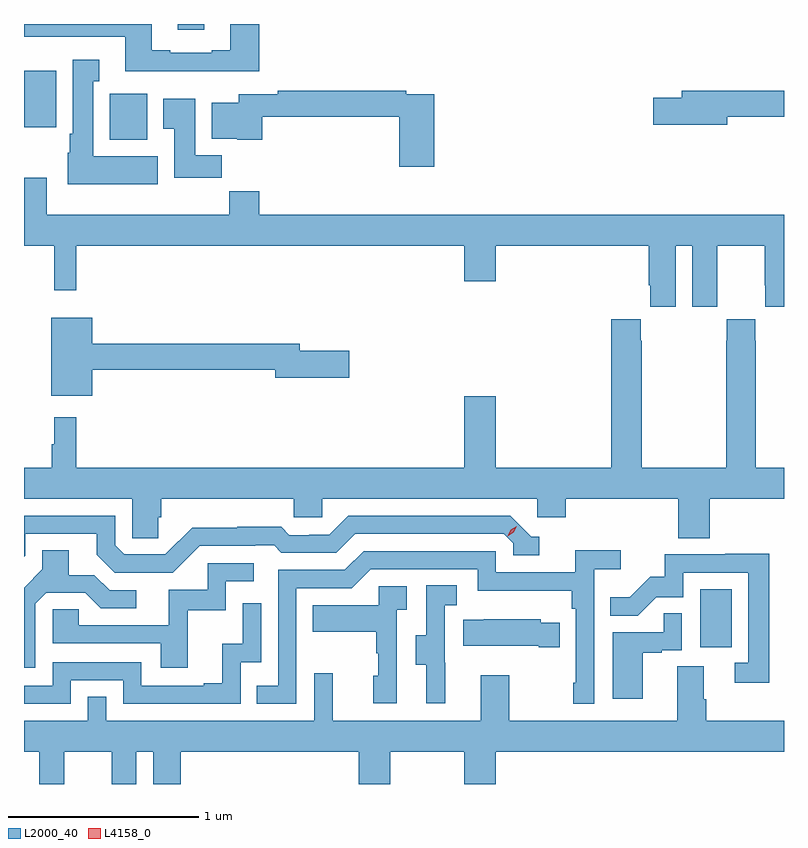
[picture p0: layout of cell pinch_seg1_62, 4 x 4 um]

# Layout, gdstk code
import gdstk
lib = gdstk.Library(unit=1e-6, precision=1e-09)
def R(c, l, rs):  # rectangles x0, y0, x1, y1
    for r in rs: c.add(gdstk.rectangle(r[:2], r[2:], *l))
def P(c, l, *ps):  # polygons
    for p in ps: c.add(gdstk.Polygon(p, *l))
L2000_40 = (2000, 40)
L4158_0 = (4158, 0)

pinch_seg1_62 = lib.new_cell('pinch_seg1_62')
R(pinch_seg1_62, L2000_40, [(1029.386,566.934,1029.55,567.241), (1026.278,569.606,1026.475,569.848), (1025.826,569.672,1025.995,569.968), (1026.635,570.186,1026.775,570.215)])
P(pinch_seg1_62, L2000_40, [(1027.064,570.215),(1026.911,570.215),(1026.911,570.076),(1026.815,570.076),(1026.815,570.063),(1026.595,570.063),(1026.595,570.076),(1026.499,570.076),(1026.499,570.215),(1025.826,570.215),(1025.826,570.147),(1026.359,570.147),(1026.359,569.966),(1027.064,569.966)],
  [(1026.529,569.518),(1026.19,569.518),(1026.19,569.915),(1026.223,569.915),(1026.223,570.028),(1026.083,570.028),(1026.083,569.638),(1026.068,569.638),(1026.068,569.538),(1026.056,569.538),(1026.056,569.372),(1026.529,569.372)],
  [(1027.985,569.844),(1027.838,569.844),(1027.838,569.864),(1027.162,569.864),(1027.162,569.844),(1026.956,569.844),(1026.956,569.8),(1026.815,569.8),(1026.815,569.612),(1026.948,569.612),(1026.948,569.606),(1027.079,569.606),(1027.079,569.728),(1027.802,569.728),(1027.802,569.463),(1027.985,569.463)],
  [(1029.526,569.728),(1029.826,569.728),(1029.826,569.864),(1029.287,569.864),(1029.287,569.828),(1029.138,569.828),(1029.138,569.686),(1029.526,569.686)],
  [(1026.866,569.524),(1026.727,569.524),(1026.727,569.821),(1026.56,569.821),(1026.56,569.665),(1026.617,569.665),(1026.617,569.406),(1026.866,569.406)],
  [(1029.256,569.048),(1029.344,569.048),(1029.344,568.728),(1029.474,568.728),(1029.474,568.84),(1029.475,568.84),(1029.475,569.048),(1029.725,569.048),(1029.725,568.84),(1029.726,568.84),(1029.726,568.728),(1029.826,568.728),(1029.826,569.212),(1027.064,569.212),(1027.064,569.336),(1026.907,569.336),(1026.907,569.212),(1025.947,569.212),(1025.947,569.407),(1025.826,569.407),(1025.826,569.048),(1025.984,569.048),(1025.984,568.815),(1026.101,568.815),(1026.101,569.048),(1028.144,569.048),(1028.144,568.86),(1028.308,568.86),(1028.308,569.048),(1029.113,569.048),(1029.113,568.84),(1029.122,568.84),(1029.122,568.728),(1029.256,568.728)],
  [(1026.184,568.396),(1027.148,568.396),(1027.148,568.354),(1027.537,568.354),(1027.537,568.496),(1027.276,568.496),(1027.276,568.532),(1026.184,568.532),(1026.184,568.669),(1025.969,568.669),(1025.969,568.259),(1026.184,568.259)],
  [(1026.396,567.508),(1026.533,567.508),(1026.533,567.618),(1026.548,567.618),(1026.548,567.716),(1027.245,567.716),(1027.245,567.618),(1027.395,567.618),(1027.395,567.716),(1028.526,567.716),(1028.526,567.618),(1028.678,567.618),(1028.678,567.716),(1029.269,567.716),(1029.269,567.508),(1029.434,567.508),(1029.434,567.716),(1029.826,567.716),(1029.826,567.88),(1029.678,567.88),(1029.678,568.547),(1029.675,568.547),(1029.675,568.66),(1029.525,568.66),(1029.525,568.547),(1029.523,568.547),(1029.523,567.88),(1029.078,567.88),(1029.078,568.547),(1029.071,568.547),(1029.071,568.66),(1028.918,568.66),(1028.918,567.88),(1028.308,567.88),(1028.308,568.255),(1028.144,568.255),(1028.144,567.88),(1026.101,567.88),(1026.101,568.144),(1025.984,568.144),(1025.984,568.004),(1025.973,568.004),(1025.973,567.88),(1025.826,567.88),(1025.826,567.716),(1026.396,567.716)],
  [(1026.75,567.468),(1027.043,567.468),(1027.043,567.471),(1027.142,567.471),(1027.181,567.432),(1027.47,567.432),(1027.569,567.531),(1028.352,567.531),(1028.4,567.483),(1028.4,567.42),(1028.539,567.42),(1028.539,567.516),(1028.496,567.516),(1028.385,567.627),(1027.532,567.627),(1027.433,567.528),(1027.326,567.528),(1027.326,567.525),(1027.223,567.525),(1027.181,567.568),(1026.948,567.568),(1026.948,567.565),(1026.712,567.565),(1026.57,567.423),(1026.354,567.423),(1026.306,567.471),(1026.306,567.627),(1025.826,567.627),(1025.826,567.411),(1025.832,567.417),(1025.832,567.531),(1026.209,567.531),(1026.209,567.421),(1026.303,567.327),(1026.609,567.327)],
  [(1027.26,567.246),(1027.551,567.246),(1027.65,567.345),(1028.214,567.345),(1028.214,567.233),(1028.71,567.233),(1028.71,567.137),(1028.73,567.137),(1028.73,566.749),(1028.718,566.749),(1028.718,566.637),(1028.826,566.637),(1028.826,567.344),(1028.968,567.344),(1028.968,567.446),(1028.728,567.446),(1028.728,567.33),(1028.31,567.33),(1028.31,567.441),(1027.613,567.441),(1027.514,567.342),(1027.164,567.342),(1027.164,566.733),(1027.051,566.733),(1027.051,566.637),(1027.26,566.637)],
  [(1025.886,567.165),(1025.943,567.222),(1026.149,567.222),(1026.23,567.141),(1026.418,567.141),(1026.418,567.234),(1026.276,567.234),(1026.196,567.314),(1026.061,567.314),(1026.061,567.446),(1025.921,567.446),(1025.921,567.344),(1025.826,567.249),(1025.826,566.826),(1025.886,566.826)],
  [(1029.748,567.428),(1029.517,567.428),(1029.517,567.423),(1029.199,567.423),(1029.199,567.306),(1029.122,567.306),(1029.015,567.199),(1028.911,567.199),(1028.911,567.1),(1029.055,567.1),(1029.153,567.198),(1029.297,567.198),(1029.297,567.327),(1029.639,567.327),(1029.639,566.853),(1029.567,566.853),(1029.567,566.748),(1029.748,566.748)],
  [(1026.689,567.129),(1026.888,567.129),(1026.888,567.282),(1027.036,567.282),(1027.036,567.378),(1026.792,567.378),(1026.792,567.237),(1026.587,567.237),(1026.587,567.051),(1026.113,567.051),(1026.113,567.135),(1025.976,567.135),(1025.976,566.955),(1026.545,566.955),(1026.545,566.826),(1026.689,566.826)],
  [(1028.042,566.853),(1028.04,566.853),(1028.04,567.157),(1028.103,567.157),(1028.103,567.26),(1027.944,567.26),(1027.944,566.997),(1027.889,566.997),(1027.889,566.842),(1027.943,566.842),(1027.943,566.64),(1028.042,566.64)],
  [(1027.788,567.131),(1027.84,567.131),(1027.84,567.255),(1027.692,567.255),(1027.692,567.157),(1027.345,567.157),(1027.345,567.017),(1027.68,567.017),(1027.68,566.903),(1027.69,566.903),(1027.69,566.784),(1027.664,566.784),(1027.664,566.64),(1027.788,566.64)],
  [(1026.072,566.76),(1026.348,566.76),(1026.348,566.637),(1026.966,566.637),(1026.966,566.856),(1027.074,566.856),(1027.074,567.166),(1026.978,567.166),(1026.978,566.954),(1026.869,566.954),(1026.869,566.746),(1026.773,566.746),(1026.773,566.733),(1026.444,566.733),(1026.444,566.856),(1025.976,566.856),(1025.976,566.733),(1025.826,566.733),(1025.826,566.637),(1026.072,566.637)],
  [(1029.082,566.907),(1029.182,566.907),(1029.182,566.919),(1029.288,566.919),(1029.288,567.113),(1029.193,567.113),(1029.193,567.015),(1028.924,567.015),(1028.924,566.664),(1029.082,566.664)],
  [(1028.645,567.064),(1028.547,567.064),(1028.547,567.082),(1028.245,567.082),(1028.245,567.079),(1028.137,567.079),(1028.137,566.942),(1028.534,566.942),(1028.534,566.935),(1028.645,566.935)],
  [(1026.037,566.384),(1026.287,566.384),(1026.287,566.215),(1026.418,566.215),(1026.418,566.384),(1026.506,566.384),(1026.506,566.215),(1026.65,566.215),(1026.65,566.384),(1027.589,566.384),(1027.589,566.215),(1027.753,566.215),(1027.753,566.384),(1028.144,566.384),(1028.144,566.215),(1028.308,566.215),(1028.308,566.384),(1029.826,566.384),(1029.826,566.548),(1029.416,566.548),(1029.416,566.66),(1029.403,566.66),(1029.403,566.834),(1029.263,566.834),(1029.263,566.548),(1028.379,566.548),(1028.379,566.788),(1028.231,566.788),(1028.231,566.548),(1027.451,566.548),(1027.451,566.797),(1027.353,566.797),(1027.353,566.548),(1026.258,566.548),(1026.258,566.675),(1026.162,566.675),(1026.162,566.548),(1025.826,566.548),(1025.826,566.384),(1025.906,566.384),(1025.906,566.215),(1026.037,566.215)])
P(pinch_seg1_62, L4158_0, [(1028.373,567.519),(1028.373,567.52),(1028.389,567.552),(1028.419,567.572),(1028.419,567.572),(1028.419,567.572),(1028.404,567.539),(1028.373,567.519)])

lib.write_gds('pinch_seg1_62.gds')
